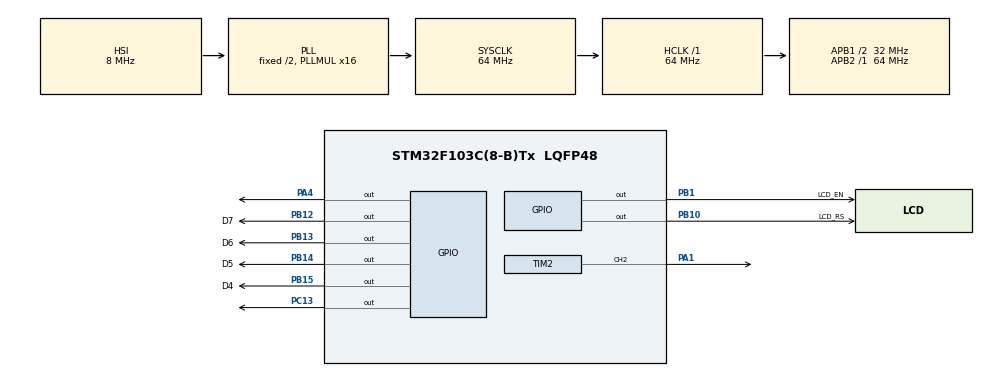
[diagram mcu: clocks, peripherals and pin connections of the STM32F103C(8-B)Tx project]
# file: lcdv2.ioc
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Mcu.Family=STM32F1
Mcu.Name=STM32F103C(8-B)Tx
Mcu.Package=LQFP48
NVIC.PriorityGroup=NVIC_PRIORITYGROUP_4
PA1.Signal=S_TIM2_CH2
PA13.Mode=Serial_Wire
PA13.Signal=SYS_JTMS-SWDIO
PA14.Mode=Serial_Wire
PA14.Signal=SYS_JTCK-SWCLK
PA4.GPIO_PuPd=GPIO_PULLDOWN
PA4.Signal=GPIO_Output
PB1.GPIO_Label=LCD_EN
PB1.Signal=GPIO_Output
PB10.GPIO_Label=LCD_RS
PB10.Signal=GPIO_Output
PB12.GPIO_Label=D7
PB12.Signal=GPIO_Output
PB13.GPIO_Label=D6
PB13.Signal=GPIO_Output
PB14.GPIO_Label=D5
PB14.Signal=GPIO_Output
PB15.GPIO_Label=D4
PB15.Signal=GPIO_Output
PC13-TAMPER-RTC.GPIO_PuPd=GPIO_NOPULL
PC13-TAMPER-RTC.Signal=GPIO_Output
ProjectManager.HeapSize=0x200
ProjectManager.StackSize=0x400
ProjectManager.TargetToolchain=MDK-ARM V5.32
RCC.AHBFreq_Value=64000000
RCC.APB1CLKDivider=RCC_HCLK_DIV2
RCC.APB1Freq_Value=32000000
RCC.APB1TimFreq_Value=64000000
RCC.APB2Freq_Value=64000000
RCC.APB2TimFreq_Value=64000000
RCC.HCLKFreq_Value=64000000
RCC.PLLMUL=RCC_PLL_MUL16
RCC.SYSCLKFreq_VALUE=64000000
RCC.SYSCLKSource=RCC_SYSCLKSOURCE_PLLCLK
RCC.USBFreq_Value=64000000
SH.S_TIM2_CH2.0=TIM2_CH2,PWM Generation2 CH2
TIM2.Channel-PWM\ Generation2\ CH2=TIM_CHANNEL_2
TIM2.Period=19999
TIM2.Prescaler=63
VP_TIM2_VS_ClockSourceINT.Mode=Internal
board=custom

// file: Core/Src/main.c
/* USER CODE BEGIN Header */
/**
  ******************************************************************************
  * @file           : main.c
  * @brief          : Main program body
  ******************************************************************************
  * @attention
  *
  * Copyright (c) 2026 STMicroelectronics.
  * All rights reserved.
  *
  * This software is licensed under terms that can be found in the LICENSE file
  * in the root directory of this software component.
  * If no LICENSE file comes with this software, it is provided AS-IS.
  *
  ******************************************************************************
  */
/* USER CODE END Header */
#include "main.h"

/* USER CODE BEGIN Includes */
#include "lcd.h"
LCD_t lcd;

/* USER CODE END Includes */

TIM_HandleTypeDef htim2;

void SystemClock_Config(void);
static void MX_GPIO_Init(void);
static void MX_TIM2_Init(void);

int main(void)
{

  /* MCU Configuration--------------------------------------------------------*/

  /* Reset of all peripherals, Initializes the Flash interface and the Systick. */
  HAL_Init();

  /* Configure the system clock */
  SystemClock_Config();

  /* Initialize all configured peripherals */
  MX_GPIO_Init();
  MX_TIM2_Init();
  /* USER CODE BEGIN 2 */
	HAL_TIM_PWM_Start(&htim2, TIM_CHANNEL_2);
		lcd.RS_port = LCD_RS_GPIO_Port;
	lcd.RS_pin = LCD_RS_Pin;
	//lcd.RW_port = LCD_RW_GPIO_Port;
	//lcd.RW_pin = LCD_RW_Pin;
	lcd.EN_port = LCD_EN_GPIO_Port;
	lcd.EN_pin = LCD_EN_Pin;
	lcd.D4_port = D4_GPIO_Port;
	lcd.D4_pin = D4_Pin;
	lcd.D5_port = D5_GPIO_Port;
	lcd.D5_pin = D5_Pin;
	lcd.D6_port = D6_GPIO_Port;
	lcd.D6_pin = D6_Pin;
	lcd.D7_port = D7_GPIO_Port;
	lcd.D7_pin = D7_Pin;

//inicializamos el LCD
	lcd_begin(&lcd, 16, 2, LCD_5x8DOTS);

	//escribimos un mensaje inicial
	lcd_setCursor(&lcd, 0, 0);
	lcd_print(&lcd, "Hola Mundo! con");
	lcd_setCursor(&lcd, 0, 1);
	lcd_print(&lcd, "CaliBeta Prroo!!");
	HAL_Delay(1500);
	lcd_noDisplay(&lcd);
	lcd_display(&lcd);
	lcd_clear(&lcd);
	lcd_home(&lcd);
	lcd_print(&lcd, "Esa nota");

  /* USER CODE END 2 */

  /* Infinite loop */
  /* USER CODE BEGIN WHILE */
  while (1)
  {
		 //__HAL_TIM_SET_COMPARE(&htim2,TIM_CHANNEL_2, 500);
     //HAL_Delay(1000);
      __HAL_TIM_SET_COMPARE(&htim2,TIM_CHANNEL_2, 1500);
      HAL_Delay(1000);
      __HAL_TIM_SET_COMPARE(&htim2,TIM_CHANNEL_2, 2500);
      HAL_Delay(1000);

		HAL_Delay(1000);
		lcd_cursor(&lcd);
		HAL_Delay(1000);
		lcd_blink(&lcd);
		HAL_Delay(3000);
		lcd_noBlink(&lcd);
		lcd_noCursor(&lcd);
		HAL_Delay(100);
    /* USER CODE END WHILE */

  }
}

void SystemClock_Config(void)
{
  RCC_OscInitTypeDef RCC_OscInitStruct = {0};
  RCC_ClkInitTypeDef RCC_ClkInitStruct = {0};

  /** Initializes the RCC Oscillators according to the specified parameters
  * in the RCC_OscInitTypeDef structure.
  */
  RCC_OscInitStruct.OscillatorType = RCC_OSCILLATORTYPE_HSI;
  RCC_OscInitStruct.HSIState = RCC_HSI_ON;
  RCC_OscInitStruct.HSICalibrationValue = RCC_HSICALIBRATION_DEFAULT;
  RCC_OscInitStruct.PLL.PLLState = RCC_PLL_ON;
  RCC_OscInitStruct.PLL.PLLSource = RCC_PLLSOURCE_HSI_DIV2;
  RCC_OscInitStruct.PLL.PLLMUL = RCC_PLL_MUL16;
  if (HAL_RCC_OscConfig(&RCC_OscInitStruct) != HAL_OK)
  {
    Error_Handler();
  }

  /** Initializes the CPU, AHB and APB buses clocks
  */
  RCC_ClkInitStruct.ClockType = RCC_CLOCKTYPE_HCLK|RCC_CLOCKTYPE_SYSCLK
                              |RCC_CLOCKTYPE_PCLK1|RCC_CLOCKTYPE_PCLK2;
  RCC_ClkInitStruct.SYSCLKSource = RCC_SYSCLKSOURCE_PLLCLK;
  RCC_ClkInitStruct.AHBCLKDivider = RCC_SYSCLK_DIV1;
  RCC_ClkInitStruct.APB1CLKDivider = RCC_HCLK_DIV2;
  RCC_ClkInitStruct.APB2CLKDivider = RCC_HCLK_DIV1;

  if (HAL_RCC_ClockConfig(&RCC_ClkInitStruct, FLASH_LATENCY_2) != HAL_OK)
  {
    Error_Handler();
  }
}

static void MX_TIM2_Init(void)
{

  TIM_ClockConfigTypeDef sClockSourceConfig = {0};
  TIM_MasterConfigTypeDef sMasterConfig = {0};
  TIM_OC_InitTypeDef sConfigOC = {0};

  htim2.Instance = TIM2;
  htim2.Init.Prescaler = 63;
  htim2.Init.CounterMode = TIM_COUNTERMODE_UP;
  htim2.Init.Period = 19999;
  htim2.Init.ClockDivision = TIM_CLOCKDIVISION_DIV1;
  htim2.Init.AutoReloadPreload = TIM_AUTORELOAD_PRELOAD_DISABLE;
  if (HAL_TIM_Base_Init(&htim2) != HAL_OK)
  {
    Error_Handler();
  }
  sClockSourceConfig.ClockSource = TIM_CLOCKSOURCE_INTERNAL;
  if (HAL_TIM_ConfigClockSource(&htim2, &sClockSourceConfig) != HAL_OK)
  {
    Error_Handler();
  }
  if (HAL_TIM_PWM_Init(&htim2) != HAL_OK)
  {
    Error_Handler();
  }
  sMasterConfig.MasterOutputTrigger = TIM_TRGO_RESET;
  sMasterConfig.MasterSlaveMode = TIM_MASTERSLAVEMODE_DISABLE;
  if (HAL_TIMEx_MasterConfigSynchronization(&htim2, &sMasterConfig) != HAL_OK)
  {
    Error_Handler();
  }
  sConfigOC.OCMode = TIM_OCMODE_PWM1;
  sConfigOC.Pulse = 0;
  sConfigOC.OCPolarity = TIM_OCPOLARITY_HIGH;
  sConfigOC.OCFastMode = TIM_OCFAST_DISABLE;
  if (HAL_TIM_PWM_ConfigChannel(&htim2, &sConfigOC, TIM_CHANNEL_2) != HAL_OK)
  {
    Error_Handler();
  }
  HAL_TIM_MspPostInit(&htim2);

}

static void MX_GPIO_Init(void)
{
  GPIO_InitTypeDef GPIO_InitStruct = {0};

  /* GPIO Ports Clock Enable */
  __HAL_RCC_GPIOC_CLK_ENABLE();
  __HAL_RCC_GPIOA_CLK_ENABLE();
  __HAL_RCC_GPIOB_CLK_ENABLE();

  /*Configure GPIO pin Output Level */
  HAL_GPIO_WritePin(GPIOC, GPIO_PIN_13, GPIO_PIN_RESET);

  /*Configure GPIO pin Output Level */
  HAL_GPIO_WritePin(GPIOA, GPIO_PIN_4, GPIO_PIN_RESET);

  /*Configure GPIO pin Output Level */
  HAL_GPIO_WritePin(GPIOB, LCD_EN_Pin|LCD_RS_Pin|D7_Pin|D6_Pin
                          |D5_Pin|D4_Pin, GPIO_PIN_RESET);

  /*Configure GPIO pin : PC13 */
  GPIO_InitStruct.Pin = GPIO_PIN_13;
  GPIO_InitStruct.Mode = GPIO_MODE_OUTPUT_PP;
  GPIO_InitStruct.Pull = GPIO_NOPULL;
  GPIO_InitStruct.Speed = GPIO_SPEED_FREQ_LOW;
  HAL_GPIO_Init(GPIOC, &GPIO_InitStruct);

  /*Configure GPIO pin : PA4 */
  GPIO_InitStruct.Pin = GPIO_PIN_4;
  GPIO_InitStruct.Mode = GPIO_MODE_OUTPUT_PP;
  GPIO_InitStruct.Pull = GPIO_PULLDOWN;
  GPIO_InitStruct.Speed = GPIO_SPEED_FREQ_LOW;
  HAL_GPIO_Init(GPIOA, &GPIO_InitStruct);

  /*Configure GPIO pins : LCD_EN_Pin LCD_RS_Pin D7_Pin D6_Pin
                           D5_Pin D4_Pin */
  GPIO_InitStruct.Pin = LCD_EN_Pin|LCD_RS_Pin|D7_Pin|D6_Pin
                          |D5_Pin|D4_Pin;
  GPIO_InitStruct.Mode = GPIO_MODE_OUTPUT_PP;
  GPIO_InitStruct.Pull = GPIO_NOPULL;
  GPIO_InitStruct.Speed = GPIO_SPEED_FREQ_LOW;
  HAL_GPIO_Init(GPIOB, &GPIO_InitStruct);

}

void Error_Handler(void)
{
  __disable_irq();
  while (1)
  {
  }
}
